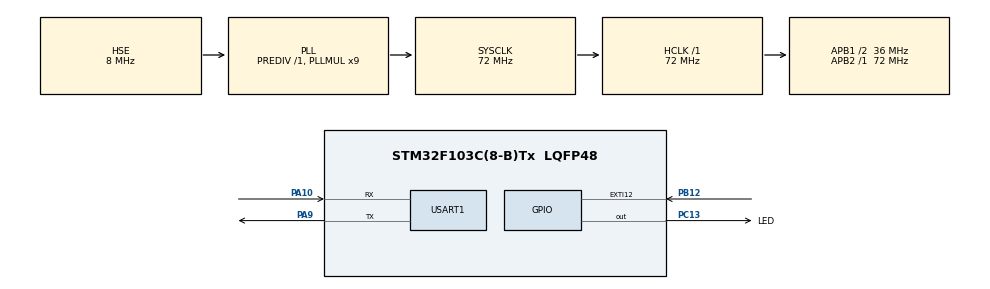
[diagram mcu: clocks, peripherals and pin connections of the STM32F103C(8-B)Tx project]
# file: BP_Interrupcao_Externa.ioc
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Mcu.Family=STM32F1
Mcu.Name=STM32F103C(8-B)Tx
Mcu.Package=LQFP48
NVIC.EXTI15_10_IRQn=true\:0\:0\:false\:false\:true\:true\:true\:true
NVIC.PriorityGroup=NVIC_PRIORITYGROUP_4
PA10.Mode=Asynchronous
PA10.Signal=USART1_RX
PA9.Mode=Asynchronous
PA9.Signal=USART1_TX
PB12.Signal=GPXTI12
PC13-TAMPER-RTC.GPIO_Label=LED
PC13-TAMPER-RTC.GPIO_Speed=GPIO_SPEED_FREQ_HIGH
PC13-TAMPER-RTC.Signal=GPIO_Output
PD0-OSC_IN.Mode=HSE-External-Oscillator
PD0-OSC_IN.Signal=RCC_OSC_IN
PD1-OSC_OUT.Mode=HSE-External-Oscillator
PD1-OSC_OUT.Signal=RCC_OSC_OUT
ProjectManager.HeapSize=0x200
ProjectManager.StackSize=0x400
ProjectManager.TargetToolchain=STM32CubeIDE
RCC.AHBFreq_Value=72000000
RCC.APB1CLKDivider=RCC_HCLK_DIV2
RCC.APB1Freq_Value=36000000
RCC.APB1TimFreq_Value=72000000
RCC.APB2Freq_Value=72000000
RCC.APB2TimFreq_Value=72000000
RCC.HCLKFreq_Value=72000000
RCC.PLLMUL=RCC_PLL_MUL9
RCC.PLLSourceVirtual=RCC_PLLSOURCE_HSE
RCC.SYSCLKFreq_VALUE=72000000
RCC.SYSCLKSource=RCC_SYSCLKSOURCE_PLLCLK
RCC.USBFreq_Value=72000000
USART1.VirtualMode=VM_ASYNC
VP_SYS_VS_ND.Mode=No_Debug
board=custom

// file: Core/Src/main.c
/* USER CODE BEGIN Header */
/**
  ******************************************************************************
  * @file           : main.c
  * @brief          : Main program body
  ******************************************************************************
  * @attention
  *
  * Copyright (c) 2025 STMicroelectronics.
  * All rights reserved.
  *
  * This software is licensed under terms that can be found in the LICENSE file
  * in the root directory of this software component.
  * If no LICENSE file comes with this software, it is provided AS-IS.
  *
  ******************************************************************************
  */
/* USER CODE END Header */
#include "main.h"
#include "stdio.h"
#include "string.h"

UART_HandleTypeDef huart1;
char msg[100];
uint32_t currentTime = 0;
uint32_t previousTime = 0;
uint16_t deltaTime = 0;
uint16_t previousDeltaTime = 0;
uint8_t denteRodaFonica = 0;
uint8_t envia = 0;

void SystemClock_Config(void);
static void MX_GPIO_Init(void);
static void MX_USART1_UART_Init(void);

/* USER CODE BEGIN 0 */
void HAL_GPIO_EXTI_Callback(uint16_t GPIO_Pin)
{
  /* Prevent unused argument(s) compilation warning */
  UNUSED(GPIO_Pin);
  denteRodaFonica++;
  currentTime = HAL_GetTick();
  deltaTime = currentTime - previousTime;
  previousTime = currentTime;

  if(deltaTime>(previousDeltaTime*2))
  {
	  denteRodaFonica = 1;
	  previousDeltaTime = deltaTime;
  }
  else
  {
	  previousDeltaTime = deltaTime;

	  if(denteRodaFonica==5)
	  {
		  HAL_GPIO_WritePin(LED_GPIO_Port, LED_Pin, GPIO_PIN_SET);
	  }
	  else if(denteRodaFonica==7)
	  {
		  HAL_GPIO_WritePin(LED_GPIO_Port, LED_Pin, GPIO_PIN_RESET);
		  uint16_t frequencia = 1000/deltaTime;
		  // Usando sprintf para formatar texto com número inteiro
		  sprintf(msg, "RPM Atual = %d\r\n", frequencia);
		  HAL_UART_Transmit(&huart1, (uint8_t*)msg, strlen(msg), HAL_MAX_DELAY);

   		  sprintf(msg, "Temp ms = %d\r\n", deltaTime);
   		  HAL_UART_Transmit(&huart1, (uint8_t*)msg, strlen(msg), HAL_MAX_DELAY);

   		  sprintf(msg, "CONT DENTE = %d\r\n", denteRodaFonica);
   		  HAL_UART_Transmit(&huart1, (uint8_t*)msg, strlen(msg), HAL_MAX_DELAY);

	  }
  }

//HAL_GPIO_TogglePin(LED_GPIO_Port, LED_Pin);
}
/* USER CODE END 0 */

int main(void)
{

  /* MCU Configuration--------------------------------------------------------*/

  /* Reset of all peripherals, Initializes the Flash interface and the Systick. */
  HAL_Init();

  /* Configure the system clock */
  SystemClock_Config();

  /* Initialize all configured peripherals */
  MX_GPIO_Init();
  MX_USART1_UART_Init();

  /* Infinite loop */
  while (1)
  {

  }
}

void SystemClock_Config(void)
{
  RCC_OscInitTypeDef RCC_OscInitStruct = {0};
  RCC_ClkInitTypeDef RCC_ClkInitStruct = {0};

  /** Initializes the RCC Oscillators according to the specified parameters
  * in the RCC_OscInitTypeDef structure.
  */
  RCC_OscInitStruct.OscillatorType = RCC_OSCILLATORTYPE_HSE;
  RCC_OscInitStruct.HSEState = RCC_HSE_ON;
  RCC_OscInitStruct.HSEPredivValue = RCC_HSE_PREDIV_DIV1;
  RCC_OscInitStruct.HSIState = RCC_HSI_ON;
  RCC_OscInitStruct.PLL.PLLState = RCC_PLL_ON;
  RCC_OscInitStruct.PLL.PLLSource = RCC_PLLSOURCE_HSE;
  RCC_OscInitStruct.PLL.PLLMUL = RCC_PLL_MUL9;
  if (HAL_RCC_OscConfig(&RCC_OscInitStruct) != HAL_OK)
  {
    Error_Handler();
  }

  /** Initializes the CPU, AHB and APB buses clocks
  */
  RCC_ClkInitStruct.ClockType = RCC_CLOCKTYPE_HCLK|RCC_CLOCKTYPE_SYSCLK
                              |RCC_CLOCKTYPE_PCLK1|RCC_CLOCKTYPE_PCLK2;
  RCC_ClkInitStruct.SYSCLKSource = RCC_SYSCLKSOURCE_PLLCLK;
  RCC_ClkInitStruct.AHBCLKDivider = RCC_SYSCLK_DIV1;
  RCC_ClkInitStruct.APB1CLKDivider = RCC_HCLK_DIV2;
  RCC_ClkInitStruct.APB2CLKDivider = RCC_HCLK_DIV1;

  if (HAL_RCC_ClockConfig(&RCC_ClkInitStruct, FLASH_LATENCY_2) != HAL_OK)
  {
    Error_Handler();
  }
}

static void MX_USART1_UART_Init(void)
{

  huart1.Instance = USART1;
  huart1.Init.BaudRate = 115200;
  huart1.Init.WordLength = UART_WORDLENGTH_8B;
  huart1.Init.StopBits = UART_STOPBITS_1;
  huart1.Init.Parity = UART_PARITY_NONE;
  huart1.Init.Mode = UART_MODE_TX_RX;
  huart1.Init.HwFlowCtl = UART_HWCONTROL_NONE;
  huart1.Init.OverSampling = UART_OVERSAMPLING_16;
  if (HAL_UART_Init(&huart1) != HAL_OK)
  {
    Error_Handler();
  }

}

static void MX_GPIO_Init(void)
{
  GPIO_InitTypeDef GPIO_InitStruct = {0};

  /* GPIO Ports Clock Enable */
  __HAL_RCC_GPIOC_CLK_ENABLE();
  __HAL_RCC_GPIOD_CLK_ENABLE();
  __HAL_RCC_GPIOB_CLK_ENABLE();
  __HAL_RCC_GPIOA_CLK_ENABLE();

  /*Configure GPIO pin Output Level */
  HAL_GPIO_WritePin(LED_GPIO_Port, LED_Pin, GPIO_PIN_RESET);

  /*Configure GPIO pin : LED_Pin */
  GPIO_InitStruct.Pin = LED_Pin;
  GPIO_InitStruct.Mode = GPIO_MODE_OUTPUT_PP;
  GPIO_InitStruct.Pull = GPIO_NOPULL;
  GPIO_InitStruct.Speed = GPIO_SPEED_FREQ_HIGH;
  HAL_GPIO_Init(LED_GPIO_Port, &GPIO_InitStruct);

  /*Configure GPIO pin : PB12 */
  GPIO_InitStruct.Pin = GPIO_PIN_12;
  GPIO_InitStruct.Mode = GPIO_MODE_IT_RISING;
  GPIO_InitStruct.Pull = GPIO_NOPULL;
  HAL_GPIO_Init(GPIOB, &GPIO_InitStruct);

  /* EXTI interrupt init*/
  HAL_NVIC_SetPriority(EXTI15_10_IRQn, 0, 0);
  HAL_NVIC_EnableIRQ(EXTI15_10_IRQn);

}

void Error_Handler(void)
{
  __disable_irq();
  while (1)
  {
  }
}
